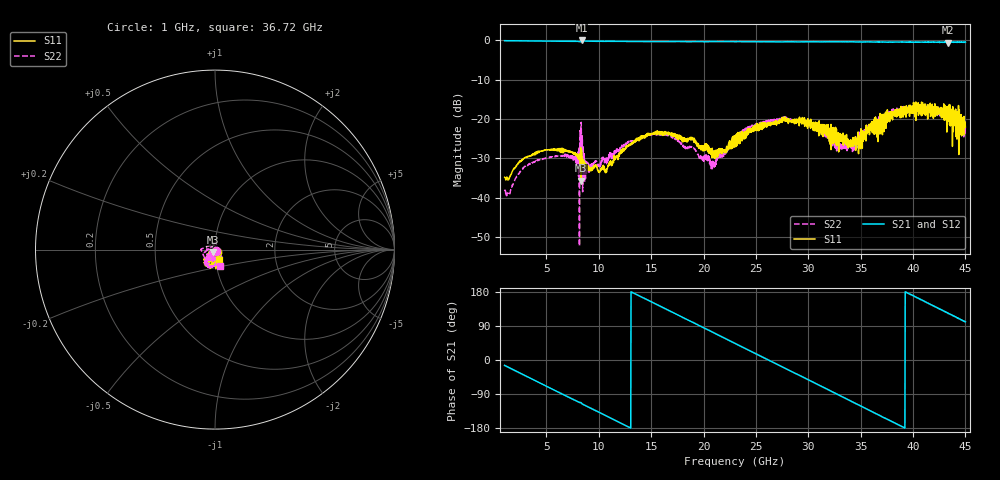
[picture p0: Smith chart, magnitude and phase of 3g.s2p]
!Keysight Technologies,N5247B,MY61255062,A.19.80.06
!Date: Tuesday, May 26, 2026 11:30:53
!Correction: S11(C  2-Port  )
!S21(C  2-Port  )
!S12(C  2-Port  )
!S22(C  2-Port  )
!S2P File: Measurements: S11, S21, S12, S22:
# Hz S  dB  R 50
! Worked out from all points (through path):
!   1601 points, 1 GHz to 45 GHz, reference 50 ohm
!   highest |S21| = -0.08 dB at 8.342 GHz (marker M1); lowest = -0.7 dB at 43.35 GHz (marker M2)
!   group delay of S21, straight-line fit = 38.2 ps
!   lowest |S11| = -35.7 dB at 8.315 GHz (marker M3), VSWR 1.03, Z = 49.1 - j1.34 ohm
!   |S11| at or under -10 dB: start of sweep to end of sweep
!   |S22| runs from -52.3 to -16.2 dB; largest |S21 - S12| = 0.023
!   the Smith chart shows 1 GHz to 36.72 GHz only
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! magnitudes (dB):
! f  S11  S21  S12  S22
! 1 GHz  -34.8  -0.1  -0.1  -38.3
! 1.357 GHz  -35.5  -0.2  -0.2  -39.3
! 2.842 GHz  -30.0  -0.2  -0.2  -32.3
! 4.795 GHz  -28.0  -0.2  -0.2  -30.0
! 6.912 GHz  -28.0  -0.3  -0.3  -29.6
! 7.93 GHz  -29.5  -0.3  -0.3  -29.1
! 8.315 GHz  -35.7  -0.1  -0.1  -20.9
! 8.342 GHz  -27.9  -0.1  -0.1  -25.4
! 8.865 GHz  -32.6  -0.3  -0.3  -31.0
! 10.68 GHz  -33.1  -0.3  -0.3  -29.9
! 13.48 GHz  -25.8  -0.4  -0.4  -25.3
! 15.69 GHz  -23.4  -0.4  -0.4  -23.8
! 20.88 GHz  -29.6  -0.3  -0.3  -30.7
! 23 GHz  -24.3  -0.4  -0.4  -24.6
! 27.48 GHz  -20.9  -0.5  -0.4  -20.0
! 30.34 GHz  -21.3  -0.4  -0.4  -21.8
! 32.71 GHz  -26.8  -0.4  -0.4  -28.1
! 34 GHz  -25.4  -0.4  -0.4  -26.0
! 37.69 GHz  -20.5  -0.5  -0.5  -18.9
! 40.35 GHz  -17.7  -0.5  -0.5  -16.6
! 43.35 GHz  -17.8  -0.7  -0.5  -19.2
! 45 GHz  -22.0  -0.5  -0.6  -21.8
